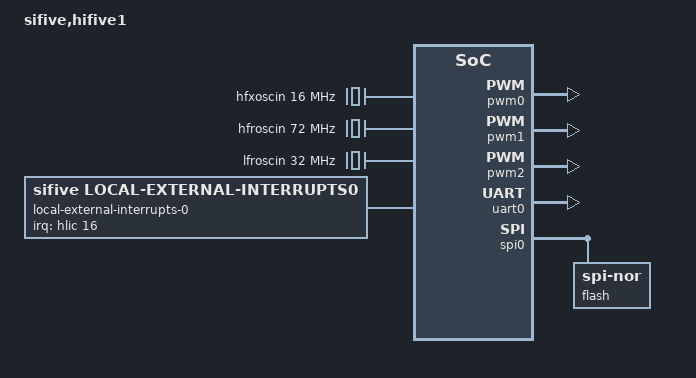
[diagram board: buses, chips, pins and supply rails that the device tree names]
/dts-v1/;

/ {
        #address-cells = <1>;
        #size-cells = <1>;
        compatible = "sifive,hifive1";
        model = "sifive,hifive1";

        cpus {
                #address-cells = <1>;
                #size-cells = <0>;
                compatible = "sifive,fe310-g000";
                L6: cpu@0 {
                        clocks = <&hfclk>;
                        compatible = "sifive,rocket0", "riscv";
                        device_type = "cpu";
                        i-cache-block-size = <64>;
                        i-cache-sets = <128>;
                        i-cache-size = <16384>;
                        next-level-cache = <&spi0>;
                        reg = <0>;
                        riscv,isa = "rv32imac";
                        sifive,dtim = <&dtim>;
                        status = "okay";
                        timebase-frequency = <1000000>;
                        hardware-exec-breakpoint-count = <4>;
                        hlic: interrupt-controller {
                                #interrupt-cells = <1>;
                                compatible = "riscv,cpu-intc";
                                interrupt-controller;
                        };
                };
        };

        soc {
                #address-cells = <1>;
                #size-cells = <1>;
                #clock-cells = <1>;
                compatible = "sifive,hifive1";
                ranges;

                hfxoscin: clock@0 {
                        #clock-cells = <0>;
                        compatible = "fixed-clock";
                        clock-frequency = <16000000>;
                };
                hfxoscout: clock@1 {
                        compatible = "sifive,fe310-g000,hfxosc";
                        clocks = <&hfxoscin>;
                        reg = <&prci 0x4>;
                        reg-names = "config";
                };
                hfroscin: clock@2 {
                        #clock-cells = <0>;
                        compatible = "fixed-clock";
                        clock-frequency = <72000000>;
                };
                hfroscout: clock@3 {
                        compatible = "sifive,fe310-g000,hfrosc";
                        clocks = <&hfroscin>;
                        reg = <&prci 0x0>;
                        reg-names = "config";
                };
                hfclk: clock@4 {
                        compatible = "sifive,fe310-g000,pll";
                        clocks = <&hfxoscout &hfroscout>;
                        clock-names = "pllref", "pllsel0";
                        reg = <&prci 0x8 &prci 0xc>;
                        reg-names = "config", "divider";
                        clock-frequency = <16000000>;
                };

                lfroscin: clock@5 {
                        #clock-cells = <0>;
                        compatible = "fixed-clock";
                        clock-frequency = <32000000>;
                };
                lfclk: clock@6 {
                        compatible = "sifive,fe310-g000,lfrosc";
                        clocks = <&lfroscin>;
                        reg = <&aon 0x70>;
                        reg-names = "config";
                };

                aon: aon@10000000 {
                        compatible = "sifive,aon0";
                        reg = <0x10000000 0x8000>;
                        reg-names = "mem";
                };

                prci: prci@10008000 {
                        compatible = "sifive,fe310-g000,prci";
                        reg = <0x10008000 0x8000>;
                        reg-names = "mem";
                };

                clint: clint@2000000 {
                        compatible = "riscv,clint0";
                        interrupts-extended = <&hlic 3 &hlic 7>;
                        reg = <0x2000000 0x10000>;
                        reg-names = "control";
                };
                local-external-interrupts-0 {
                        compatible = "sifive,local-external-interrupts0";
                        interrupt-parent = <&hlic>;
                        interrupts = <16 17 18 19 20 21 22 23 24 25 26 27 28 29 30 31>;
                };
                plic: interrupt-controller@c000000 {
                        #interrupt-cells = <1>;
                        compatible = "riscv,plic0";
                        interrupt-controller;
                        interrupts-extended = <&hlic 11>;
                        reg = <0xc000000 0x4000000>;
                        reg-names = "control";
                        riscv,max-priority = <7>;
                        riscv,ndev = <52>;
                };
                global-external-interrupts {
                        compatile = "sifive,global-external-interrupts0";
                        interrupt-parent = <&plic>;
                        interrupts = <1 2 3 4>;
                };

                debug-controller@0 {
                        compatible = "sifive,debug-011", "riscv,debug-011";
                        interrupts-extended = <&hlic 65535>;
                        reg = <0x0 0x100>;
                        reg-names = "control";
                };

                maskrom@1000 {
                        reg = <0x1000 0x2000>;
                        reg-names = "mem";
                };
                otp@20000 {
                        reg = <0x20000 0x2000 0x10010000 0x1000>;
                        reg-names = "mem", "control";
                };

                dtim: dtim@80000000 {
                        compatible = "sifive,dtim0";
                        reg = <0x80000000 0x4000>;
                        reg-names = "mem";
                };

                pwm0: pwm@10015000 {
                        compatible = "sifive,pwm0";
                        sifive,comparator-widthbits = <8>;
                        sifive,ncomparators = <4>;
                        interrupt-parent = <&plic>;
                        interrupts = <40 41 42 43>;
                        reg = <0x10015000 0x1000>;
                        reg-names = "control";
                        clocks = <&hfclk>;
                        pinmux = <&gpio0 0x0F 0x0F>;
                };

                pwm1: pwm@10025000 {
                        compatible = "sifive,pwm0";
                        sifive,comparator-widthbits = <16>;
                        sifive,ncomparators = <4>;
                        interrupt-parent = <&plic>;
                        interrupts = <44 45 46 47>;
                        reg = <0x10025000 0x1000>;
                        reg-names = "control";
                        clocks = <&hfclk>;
                        pinmux = <&gpio0 0x780000 0x780000>;
                };

                pwm2: pwm@10035000 {
                        compatible = "sifive,pwm0";
                        sifive,comparator-widthbits = <16>;
                        sifive,ncomparators = <4>;
                        interrupt-parent = <&plic>;
                        interrupts = <48 49 50 51>;
                        reg = <0x10035000 0x1000>;
                        reg-names = "control";
                        clocks = <&hfclk>;
                        pinmux = <&gpio0 0x3C00 0x3C00>;
                };

                gpio0: gpio@10012000 {
                        compatible = "sifive,gpio0";
                        interrupt-parent = <&plic>;
                        interrupts = <7 8 9 10 11 12 13 14 15 16 17 18 19 20 21 22>;
                        reg = <0x10012000 0x1000>;
                        reg-names = "control";
                };
                uart0: serial@10013000 {
                        compatible = "sifive,uart0";
                        interrupt-parent = <&plic>;
                        interrupts = <5>;
                        reg = <0x10013000 0x1000>;
                        reg-names = "control";
                        clocks = <&hfclk>;
                        pinmux = <&gpio0 0x0 0x30000>;
                };
                spi0: spi@10014000 {
                        compatible = "sifive,spi0";
                        interrupt-parent = <&plic>;
                        interrupts = <6>;
                        reg = <0x10014000 0x1000 0x20000000 0x20000000>;
                        reg-names = "control", "mem";
                        clocks = <&hfclk>;
                        pinmux = <&gpio0 0x0 0x0003C>;
                        #address-cells = <1>;
                        #size-cells = <1>;
                        flash@0 {
                                compatible = "jedec,spi-nor";
                                reg = <0x20000000 0x3d090000>;
                        };
                };
                led@0 {
                        compatible = "sifive,gpio-leds";
                        label = "LD0red";
                        gpios = <&gpio0 22>;
                        linux,default-trigger = "none";
                };
                led@1 {
                        compatible = "sifive,gpio-leds";
                        label = "LD0green";
                        gpios = <&gpio0 19>;
                        linux,default-trigger = "none";
                };
                led@2 {
                        compatible = "sifive,gpio-leds";
                        label = "LD0blue";
                        gpios = <&gpio0 21>;
                        linux,default-trigger = "none";
                };
        };
};
